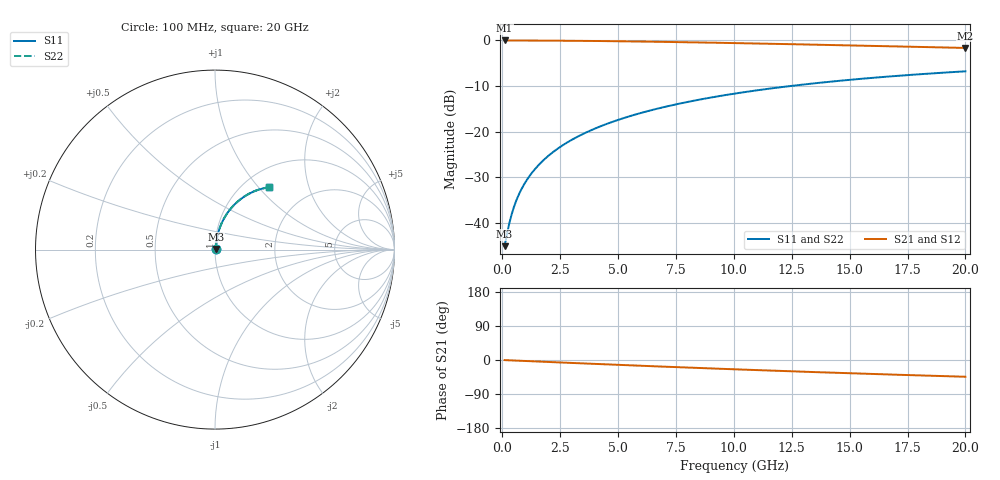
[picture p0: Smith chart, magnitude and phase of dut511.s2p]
! Touchstone file exported from HFSS 2024.1.0
!  File:  C:/UserFiles/LocalFiles/RDL_TSV_Batchsim/temp_RDL_bottom_511_1779687691.aedt
!  Generated:  01:43:55 PM May 25, 2026
!  Design:  RDL_bottom
!  Project:  temp_RDL_bottom_511_1779687691
!  Setup:  Setup1
!  Solution:  Sweep
! Variables:
!  dtsv = 10.80580581um
!  hbump = 3um
!  htsv = 82.63um
!  ldown = 617.01um
!  lrdl = 100um
!  p = 40
!  p1 = 41.63um
!  rhole = 1um
!  t = 450um
!  tdown = 3.56um
!  trdl = 3.915915916um
!  wdown = 12.91um
!  wrdl = 20um
# GHz S MA R 50.000000
! Terminal data exported
! Port[1] = RDL1_T1
! Port[2] = RDL1_T2
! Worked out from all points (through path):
!   200 points, 100 MHz to 20 GHz, reference 50 ohm
!   highest |S21| = -0.04 dB at 100 MHz (marker M1); lowest = -1.7 dB at 20 GHz (marker M2)
!   group delay of S21, straight-line fit = 6.14 ps
!   lowest |S11| = -45.0 dB at 100 MHz (marker M3), VSWR 1.01, Z = 50.5 + j0.288 ohm
!   |S11| at or under -10 dB: start of sweep to 12.45 GHz
!   |S22| runs from -45.0 to -6.8 dB; largest |S21 - S12| = 2.6e-15
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0.1  0.005603 30.7  0.9952 -0.3  0.9952 -0.3  0.005603 30.7
! Gamma 0 0 0 0
! Port Impedance 50 0 50 0
0.3  0.009881 59.1  0.9949 -0.8  0.9949 -0.8  0.009881 59.1
0.4  0.01239 64.9  0.9948 -1.1  0.9948 -1.1  0.01239 64.9
0.5  0.01497 68.7  0.9946 -1.3  0.9946 -1.3  0.01497 68.7
0.6  0.01757 71.3  0.9944 -1.6  0.9944 -1.6  0.01757 71.3
0.8  0.02281 74.6  0.9941 -2.1  0.9941 -2.1  0.02281 74.6
1.1  0.03073 77.3  0.9935 -2.9  0.9935 -2.9  0.03073 77.3
1.3  0.03605 78.4  0.9931 -3.4  0.9931 -3.4  0.03605 78.4
1.6  0.04405 79.3  0.9923 -4.2  0.9923 -4.2  0.04405 79.3
2.1  0.05743 79.9  0.9908 -5.5  0.9908 -5.5  0.05744 79.9
2.7  0.07351 79.9  0.9886 -7.0  0.9886 -7.0  0.07351 79.9
3.5  0.09489 79.2  0.9849 -9.0  0.9849 -9.0  0.0949 79.2
4.2  0.1135 78.2  0.9809 -10.8  0.9809 -10.8  0.1135 78.3
5  0.1346 77.0  0.9758 -12.8  0.9758 -12.8  0.1347 77.0
5.9  0.1581 75.4  0.9692 -15.0  0.9692 -15.0  0.1582 75.5
6.8  0.1813 73.8  0.962 -17.1  0.962 -17.1  0.1814 73.9
8.3  0.2191 71.0  0.9486 -20.7  0.9486 -20.7  0.2192 71.0
10.1  0.2627 67.5  0.9311 -24.7  0.9311 -24.7  0.2628 67.6
11.7  0.2995 64.4  0.9145 -28.2  0.9145 -28.2  0.2997 64.5
13.4  0.3365 61.1  0.8962 -31.7  0.8962 -31.7  0.3368 61.2
16.7  0.4016 55.0  0.8601 -38.2  0.8601 -38.2  0.402 55.1
20  0.4575 49.3  0.8242 -44.2  0.8242 -44.2  0.458 49.4
